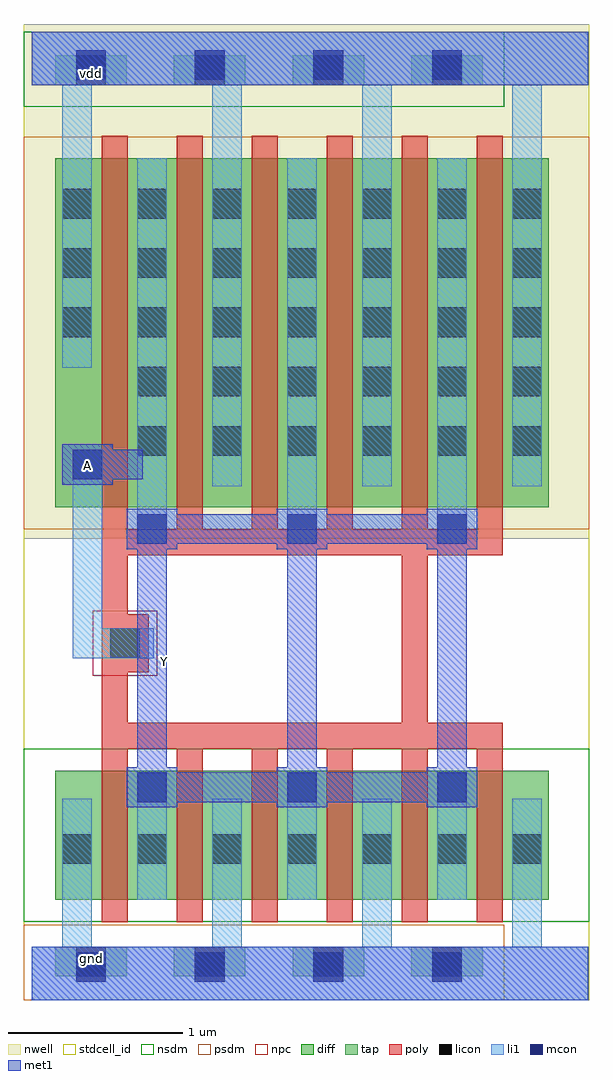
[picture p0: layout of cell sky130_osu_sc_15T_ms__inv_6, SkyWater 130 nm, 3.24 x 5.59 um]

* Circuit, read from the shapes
.subckt sky130_osu_sc_15T_ms__inv_6 A Y gnd vdd
XM1 Y A gnd gnd sky130_fd_pr__nfet_01v8 w=0.74 l=0.15 m=6
XM2 Y A vdd vdd sky130_fd_pr__pfet_01v8 w=2 l=0.15 m=6
.ends

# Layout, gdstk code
import gdstk
lib = gdstk.Library(unit=1e-6, precision=1e-09)
def R(c, l, rs):  # rectangles x0, y0, x1, y1
    for r in rs: c.add(gdstk.rectangle(r[:2], r[2:], *l))
def A(c, l, x, y, w, h, nx, ny, dx, dy):  # array of equal rectangles
    R(c, l, [(x+i*dx, y+j*dy, x+i*dx+w, y+j*dy+h) for i in range(nx) for j in range(ny)])
nwell = (64, 20)
diff = (65, 20)
tap = (65, 44)
poly = (66, 20)
licon = (66, 44)
li1 = (67, 20)
mcon = (67, 44)
met1 = (68, 20)
stdcell_id = (81, 4)
nsdm = (93, 44)
psdm = (94, 20)
npc = (95, 20)

sky130_osu_sc_15t_ms__in = lib.new_cell('sky130_osu_sc_15T_ms__inv_6')
R(sky130_osu_sc_15t_ms__in, nwell, [(-0.045,2.645,3.195,5.595)])
R(sky130_osu_sc_15t_ms__in, diff, [(0.135,0.575,2.965,1.315), (0.135,2.825,2.965,4.825)])
A(sky130_osu_sc_15t_ms__in, tap, 0.135, 0.135, 0.41, 0.17, 4, 2, 0.68, 5.11)
A(sky130_osu_sc_15t_ms__in, poly, 0.4, 0.445, 0.15, 0.995, 6, 1, 0.43, 0)
A(sky130_osu_sc_15t_ms__in, poly, 0.4, 2.7, 0.15, 2.255, 6, 1, 0.43, 0)
R(sky130_osu_sc_15t_ms__in, poly, [(0.4,1.44,2.7,1.59), (0.4,1.59,0.55,1.88), (2.12,1.59,2.27,2.55), (0.4,1.88,0.67,2.21), (0.4,2.21,0.55,2.55), (0.4,2.55,2.7,2.7)])
A(sky130_osu_sc_15t_ms__in, licon, 0.255, 0.135, 0.17, 0.17, 4, 2, 0.68, 5.11)
A(sky130_osu_sc_15t_ms__in, licon, 0.175, 0.78, 0.17, 0.17, 7, 2, 0.43, 3.02)
A(sky130_osu_sc_15t_ms__in, licon, 0.605, 3.12, 0.17, 0.17, 6, 2, 0.43, 0.34)
A(sky130_osu_sc_15t_ms__in, licon, 0.175, 4.14, 0.17, 0.17, 7, 2, 0.43, 0.34)
R(sky130_osu_sc_15t_ms__in, licon, [(0.45,1.96,0.62,2.13)])
A(sky130_osu_sc_15t_ms__in, li1, 0.175, 0.305, 0.17, 0.85, 4, 1, 0.86, 0)
A(sky130_osu_sc_15t_ms__in, li1, 0.605, 0.575, 0.17, 0.73, 3, 1, 0.86, 0)
A(sky130_osu_sc_15t_ms__in, li1, 0.605, 2.615, 0.17, 2.21, 3, 1, 0.86, 0)
A(sky130_osu_sc_15t_ms__in, li1, 1.035, 2.945, 0.17, 2.3, 3, 1, 0.86, 0)
R(sky130_osu_sc_15t_ms__in, li1, [(0,0,3.19,0.305), (0.235,1.96,0.7,2.13), (0.235,2.13,0.405,3.155), (0.175,3.625,0.345,5.245), (0,5.245,3.19,5.55)])
A(sky130_osu_sc_15t_ms__in, mcon, 0.255, 0.105, 0.17, 0.17, 4, 2, 0.68, 5.17)
A(sky130_osu_sc_15t_ms__in, mcon, 0.605, 1.135, 0.17, 0.17, 3, 2, 0.86, 1.48)
R(sky130_osu_sc_15t_ms__in, mcon, [(0.235,2.985,0.405,3.155)])
A(sky130_osu_sc_15t_ms__in, met1, 0.545, 1.105, 0.29, 0.03, 3, 2, 0.86, 0.2)
A(sky130_osu_sc_15t_ms__in, met1, 0.605, 1.335, 0.17, 1.25, 3, 1, 0.86, 0)
A(sky130_osu_sc_15t_ms__in, met1, 0.545, 2.585, 0.29, 0.03, 3, 2, 0.86, 0.2)
R(sky130_osu_sc_15t_ms__in, met1, [(0,0,3.19,0.305), (0.545,1.135,2.555,1.305), (0.545,2.615,2.555,2.785), (0.175,2.955,0.465,2.985), (0.175,2.985,0.635,3.155), (0.175,3.155,0.465,3.185), (0,5.245,3.19,5.55)])
R(sky130_osu_sc_15t_ms__in, stdcell_id, [(-0.045,0,3.195,5.55)])
R(sky130_osu_sc_15t_ms__in, nsdm, [(-0.045,0.45,3.195,1.44), (-0.045,5.12,2.71,5.55)])
R(sky130_osu_sc_15t_ms__in, psdm, [(-0.045,0,2.71,0.43), (-0.045,2.7,3.195,4.95)])
R(sky130_osu_sc_15t_ms__in, npc, [(0.35,1.86,0.72,2.23)])
sky130_osu_sc_15t_ms__in.add(gdstk.Label('gnd', (0.34,0.24), layer=68, texttype=16))
sky130_osu_sc_15t_ms__in.add(gdstk.Label('vdd', (0.34,5.31), layer=68, texttype=16))
sky130_osu_sc_15t_ms__in.add(gdstk.Label('A', (0.32,3.065), layer=68, texttype=5))
sky130_osu_sc_15t_ms__in.add(gdstk.Label('Y', (0.76,1.94), layer=68, texttype=5))

lib.write_gds('sky130_osu_sc_15T_ms__inv_6.gds')
